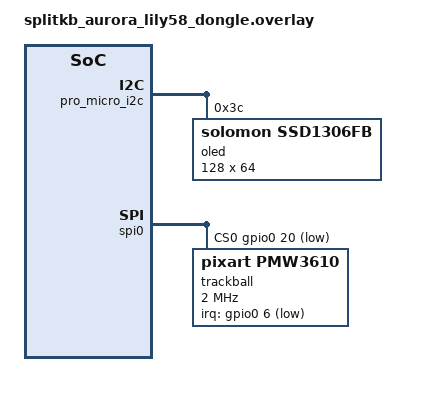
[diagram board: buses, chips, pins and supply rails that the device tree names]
#include "splitkb_aurora_lily58.dtsi"

/ {

    chosen {
        zmk,kscan = &mock_kscan;
        zephyr,display = &oled;
    };

    mock_kscan: kscan_1 {
        compatible = "zmk,kscan-mock";
        columns = <0>;
        rows = <0>;
        events = <0>;
    };
};

&pro_micro_i2c {
    status = "okay";
    
    oled: ssd1306@3c {
        compatible = "solomon,ssd1306fb";
        reg = <0x3c>;
        width = <128>;
        height = <64>;
        segment-offset = <0>;
        page-offset = <0>;
        display-offset = <0>;
        multiplex-ratio = <63>;
        segment-remap;
        com-invdir;
        inversion-on;
        prechargep = <0x22>;
    };
}; 
&spi0 {
    status = "okay";
    compatible = "nordic,nrf-spim";
    pinctrl-0 = <&spi0_default>;
    pinctrl-1 = <&spi0_sleep>;
    pinctrl-names = "default", "sleep";
    cs-gpios = <&gpio0 20 GPIO_ACTIVE_LOW>;

    trackball: trackball@0 {
        status = "okay";
        compatible = "pixart,pmw3610";
        reg = <0>;
        spi-max-frequency = <2000000>;
        irq-gpios = <&gpio0 6 (GPIO_ACTIVE_LOW | GPIO_PULL_UP)>;
         /*   optional features   */
        scroll-layers = <5>;
        automouse-layer = <4>;
        // snipe-layers = <1>;
    };
};

/ {
  trackball_listener {
    compatible = "zmk,input-listener";
    device = <&trackball>;

  };
};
